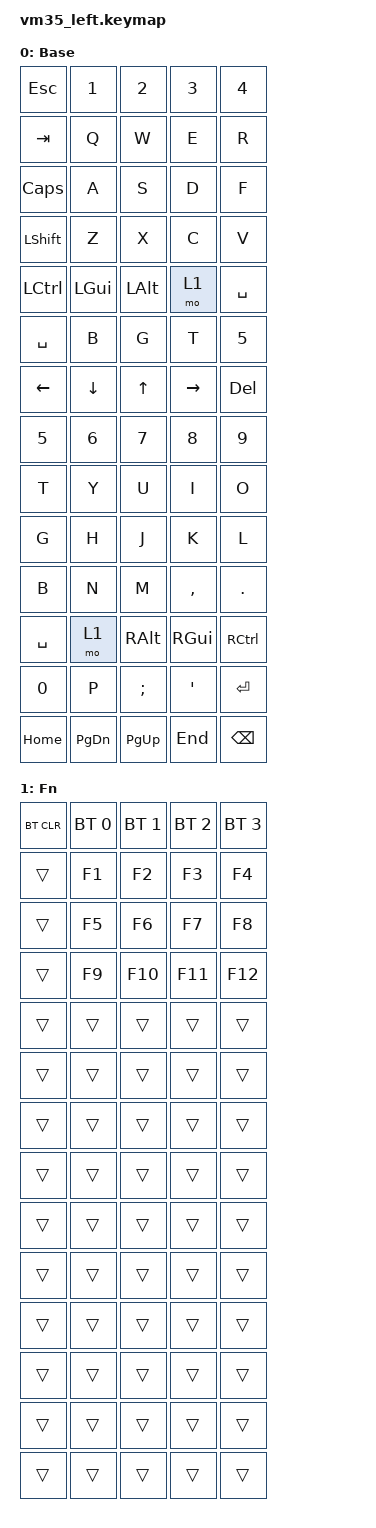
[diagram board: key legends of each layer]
#include <behaviors.dtsi>
#include <dt-bindings/zmk/keys.h>
#include <dt-bindings/zmk/bt.h>

/*
 * VM35 split — central (left) 70-key keymap.
 * Positions 0..34 = left half, 35..69 = right half (see vm35_right.dts).
 * Draft layout; split isn't hardware-tested yet. Refine once both
 * halves pair over BLE.
 */

/ {
	keymap {
		compatible = "zmk,keymap";

		default_layer {
			display-name = "Base";
			bindings = <
			/* -------- left half (0..34) -------- */
				&kp ESC   &kp N1  &kp N2  &kp N3  &kp N4
				&kp TAB   &kp Q   &kp W   &kp E   &kp R
				&kp CAPS  &kp A   &kp S   &kp D   &kp F
				&kp LSHFT &kp Z   &kp X   &kp C   &kp V
				&kp LCTRL &kp LGUI &kp LALT &mo 1 &kp SPACE
				&kp SPACE &kp B   &kp G   &kp T   &kp N5
				&kp LEFT  &kp DOWN &kp UP  &kp RIGHT &kp DEL
			/* -------- right half (35..69) -------- */
				&kp N5  &kp N6  &kp N7  &kp N8  &kp N9
				&kp T   &kp Y   &kp U   &kp I   &kp O
				&kp G   &kp H   &kp J   &kp K   &kp L
				&kp B   &kp N   &kp M   &kp COMMA &kp DOT
				&kp SPACE &mo 1  &kp RALT &kp RGUI &kp RCTRL
				&kp N0  &kp P   &kp SEMI &kp SQT &kp RET
				&kp HOME &kp PG_DN &kp PG_UP &kp END &kp BSPC
			>;
		};

		lower_layer {
			display-name = "Fn";
			bindings = <
				&bt BT_CLR &bt BT_SEL 0 &bt BT_SEL 1 &bt BT_SEL 2 &bt BT_SEL 3
				&trans &kp F1 &kp F2 &kp F3 &kp F4
				&trans &kp F5 &kp F6 &kp F7 &kp F8
				&trans &kp F9 &kp F10 &kp F11 &kp F12
				&trans &trans &trans &trans &trans
				&trans &trans &trans &trans &trans
				&trans &trans &trans &trans &trans

				&trans &trans &trans &trans &trans
				&trans &trans &trans &trans &trans
				&trans &trans &trans &trans &trans
				&trans &trans &trans &trans &trans
				&trans &trans &trans &trans &trans
				&trans &trans &trans &trans &trans
				&trans &trans &trans &trans &trans
			>;
		};
	};
};
